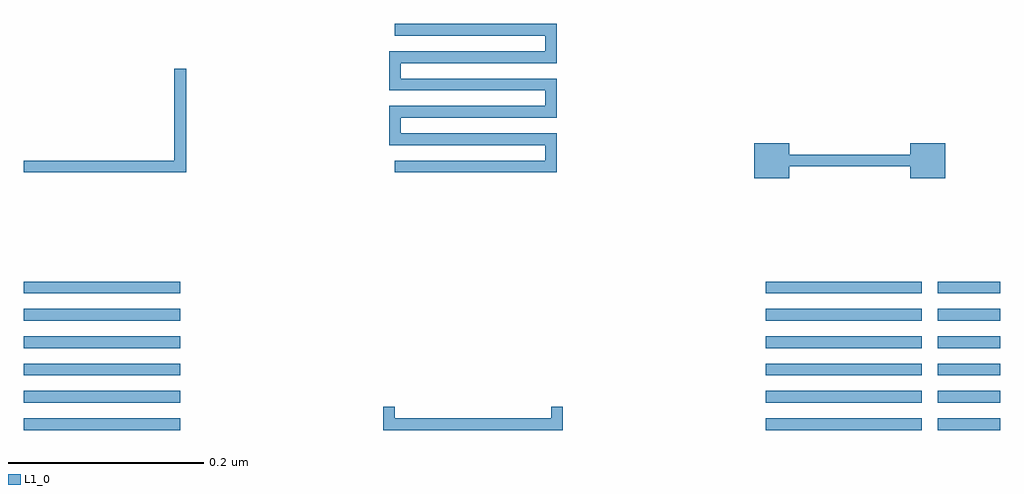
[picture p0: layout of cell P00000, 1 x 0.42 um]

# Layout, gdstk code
import gdstk
lib = gdstk.Library(unit=1e-6, precision=1e-10)
def R(c, l, rs):  # rectangles x0, y0, x1, y1
    for r in rs: c.add(gdstk.rectangle(r[:2], r[2:], *l))
def A(c, l, x, y, w, h, nx, ny, dx, dy):  # array of equal rectangles
    R(c, l, [(x+i*dx, y+j*dy, x+i*dx+w, y+j*dy+h) for i in range(nx) for j in range(ny)])
def P(c, l, *ps):  # polygons
    for p in ps: c.add(gdstk.Polygon(p, *l))
L1_0 = (1, 0)

p00000 = lib.new_cell('P00000')
A(p00000, L1_0, 0, 0, 0.16, 0.012, 1, 6, 0, 0.028)
A(p00000, L1_0, 0.76, 0, 0.16, 0.012, 1, 6, 0, 0.028)
A(p00000, L1_0, 0.936, 0, 0.064, 0.012, 1, 6, 0, 0.028)
P(p00000, L1_0, [(0.368,0),(0.368,0.024),(0.38,0.024),(0.38,0.012),(0.54,0.012),(0.54,0.024),(0.552,0.024),(0.552,0)],
  [(0,0.264),(0,0.276),(0.154,0.276),(0.154,0.37),(0.166,0.37),(0.166,0.264)],
  [(0.38,0.264),(0.38,0.276),(0.534,0.276),(0.534,0.292),(0.374,0.292),(0.374,0.332),(0.534,0.332),(0.534,0.348),(0.374,0.348),(0.374,0.388),(0.534,0.388),(0.534,0.404),(0.38,0.404),(0.38,0.416),(0.546,0.416),(0.546,0.376),(0.386,0.376),(0.386,0.36),(0.546,0.36),(0.546,0.32),(0.386,0.32),(0.386,0.304),(0.546,0.304),(0.546,0.264)],
  [(0.748,0.258),(0.748,0.294),(0.784,0.294),(0.784,0.282),(0.908,0.282),(0.908,0.294),(0.944,0.294),(0.944,0.258),(0.908,0.258),(0.908,0.27),(0.784,0.27),(0.784,0.258)])

lib.write_gds('P00000.gds')
